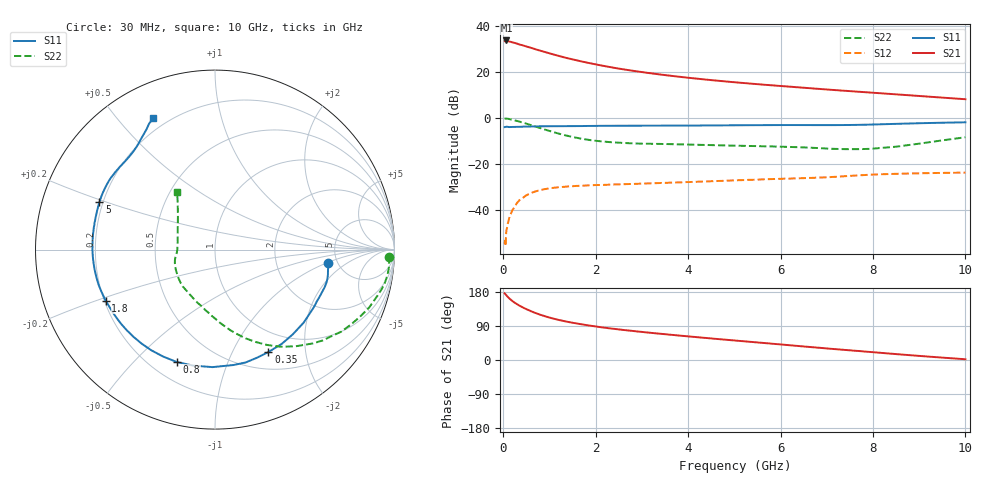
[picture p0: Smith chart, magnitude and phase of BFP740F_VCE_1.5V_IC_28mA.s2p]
! Infineon Technologies  Discrete & RF Semiconductors
! BFP740F
! VCE =  1.5 V,  IC =  28 mA
! Common Emitter S-Parameters:  Oct 2012
# GHz  S  MA  R  50
!  f  S11  S21  S12  S22
! GHz  MAG  ANG  MAG  ANG  MAG  ANG  MAG  ANG
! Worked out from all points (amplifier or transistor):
!   99 points, 30 MHz to 10 GHz, reference 50 ohm
!   highest |S21| = 33.9 dB at 70 MHz (marker M1)
!   |S21| within 3 dB of that: start of sweep to 565.3 MHz
!   unconditionally stable (mu >= 1): 5.158 GHz to end of sweep
!   at 350 MHz: K = 0.16, MSG = 34.0 dB, |S12| = -35.9 dB
!   at 3.5 GHz: K = 0.79, MSG = 23.5 dB, |S12| = -28.3 dB
!   at 10 GHz: K = 1.21, MAG = 13.3 dB, |S12| = -23.8 dB
!   S11 on the Smith chart (normalised r, x): 30 MHz: 4.22, -1.02; 350 MHz: 0.71, -1.39; 800 MHz: 0.30, -0.67; 1.8 GHz: 0.21, -0.21; 5 GHz: 0.19, +0.19; 10 GHz: 0.15, +0.63
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0.03  0.6353 -6.5  47.85 176.1  0.0018 79.4  0.9726 -2.3
0.07  0.6473 -14.7  49.45 170.5  0.0036 86.0  0.973 -7.1
0.09  0.6461 -18.8  48.8 167.6  0.0046 83.6  0.9688 -9.4
0.13  0.6363 -27.1  46.77 162.7  0.0066 78.7  0.9521 -13.8
0.2  0.64 -39.5  44.93 155.4  0.0098 74.8  0.918 -20.5
0.3  0.6437 -54.8  42.17 147.2  0.0141 67.1  0.8645 -28.9
0.35  0.6435 -62.5  40.25 143.5  0.0161 64.5  0.8392 -33.0
0.45  0.6515 -74.8  37.91 137.1  0.0189 59.5  0.7854 -40.1
0.6  0.6549 -91.2  34.22 128.8  0.0232 52.0  0.7012 -50.2
0.8  0.6614 -108.8  29.62 119.5  0.0269 44.6  0.6059 -61.3
1  0.6638 -122.4  25.89 112.0  0.0293 39.3  0.5242 -70.8
1.2  0.6652 -133.1  22.76 105.8  0.0309 35.4  0.4589 -79.0
1.4  0.6672 -141.8  20.19 100.6  0.0322 32.6  0.4083 -86.2
1.7  0.6696 -152.1  17.17 94.1  0.0334 29.8  0.3531 -96.0
1.8  0.6723 -155.0  16.34 92.2  0.0338 29.1  0.3407 -99.2
2.5  0.6799 -170.5  12.03 80.7  0.0357 26.5  0.2901 -117.2
3.4  0.6835 176.2  8.933 69.2  0.0383 26.2  0.2728 -131.3
5  0.6961 157.6  6.06 51.6  0.0437 26.7  0.2499 -148.2
5.1  0.6977 156.6  5.935 50.5  0.044 26.7  0.2488 -149.4
6.7  0.7027 140.1  4.431 33.7  0.0496 26.6  0.2244 -169.1
8.5  0.748 122.8  3.295 15.6  0.0608 22.9  0.2377 150.9
10  0.8092 115.1  2.579 2.0  0.0645 17.5  0.3816 123.5
